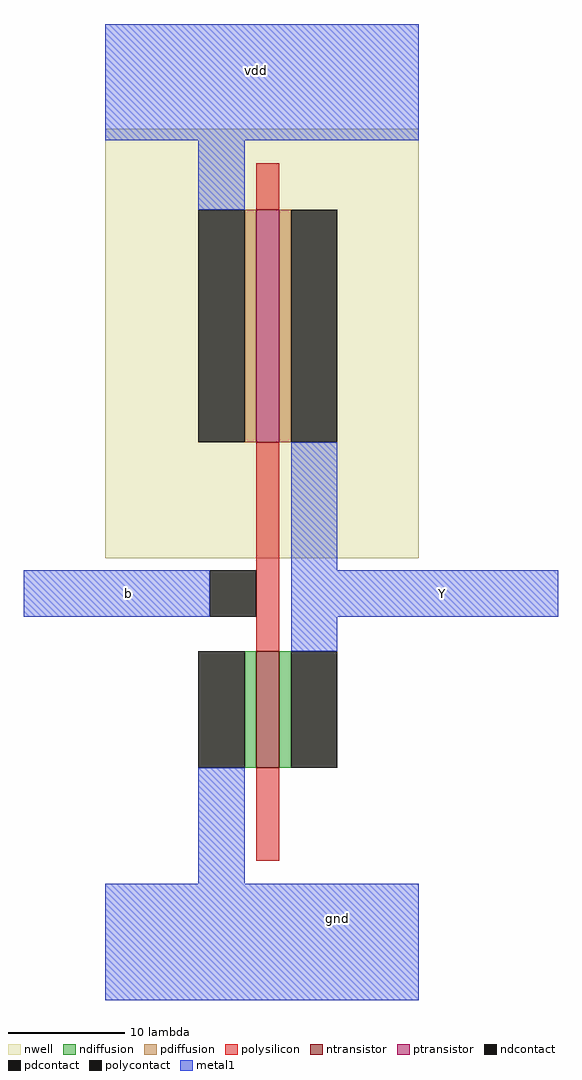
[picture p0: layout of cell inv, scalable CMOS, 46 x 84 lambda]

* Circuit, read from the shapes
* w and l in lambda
.subckt inv Y b gnd vdd
M1 Y b gnd VSUBS nfet w=10 l=2
M2 Y b vdd n1 pfet w=20 l=2
.ends

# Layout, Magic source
magic
tech scmos
<< nwell >>
rect 0 -17 27 20
<< ntransistor >>
rect 13 -35 15 -25
<< ptransistor >>
rect 13 -7 15 13
<< ndiffusion >>
rect 12 -35 13 -25
rect 15 -35 16 -25
<< pdiffusion >>
rect 12 -7 13 13
rect 15 -7 16 13
<< ndcontact >>
rect 8 -35 12 -25
rect 16 -35 20 -25
<< pdcontact >>
rect 8 -7 12 13
rect 16 -7 20 13
<< polysilicon >>
rect 13 13 15 17
rect 13 -25 15 -7
rect 13 -43 15 -35
<< polycontact >>
rect 9 -22 13 -18
<< metal1 >>
rect 0 19 27 29
rect 8 13 12 19
rect 16 -18 20 -7
rect -7 -22 9 -18
rect 16 -22 39 -18
rect 16 -25 20 -22
rect 8 -45 12 -35
rect 0 -55 27 -45
<< labels >>
rlabel metal1 13 25 13 25 5 vdd
rlabel metal1 20 -48 20 -48 1 gnd
rlabel metal1 2 -20 2 -20 1 b
rlabel metal1 29 -20 29 -20 1 Y
<< end >>
